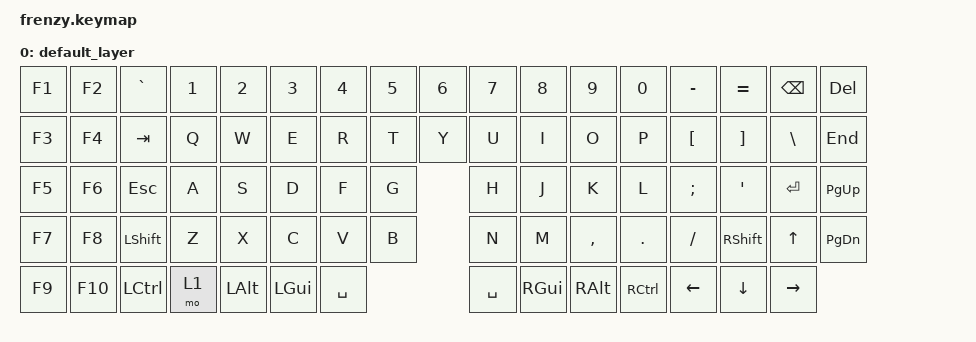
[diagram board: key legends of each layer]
/*
 * Copyright (c) 2020 The ZMK Contributors
 *
 * SPDX-License-Identifier: MIT
 */

#include <behaviors.dtsi>
#include <dt-bindings/zmk/bt.h>
#include <dt-bindings/zmk/keys.h>

/ {
    keymap {
        compatible = "zmk,keymap";

// ---------------------------------------------------------------------------------------------------------------------
// | F1  | F2  |  `    |  1   |  2  |  3   |  4  |  5  |  6  |      |  7  |  8  |  9  |  0  |  -  |  =  |  BKSPC | DEL  |
// | F3  | F4  |  TAB   |  Q   |  W  |  E   |  R  |  T  |        |  Y  |  U  |  I  |  O  |  P  |  [  |  ]  |  \  | END  |
// | F5  | F6  |  ESC    |  A   |  S  |  D   |  F  |  G  |        |  H  |  J  |  K  |  L  |  ;  |  '  |   ENTER  | PGUP |
// | F7  | F8  |  SHIFT   |  Z   |  X  |  C  |  V   |  B  |        |  N  |  M  |  ,  |  .  |  /  |  RSHFT  |  UP | PGDN |
// | F9  | F10 |  LCTRL   | FN | LALT | LGUI  |   SPACE    |      |    SPACE   | RGUI | RALT | RCTRL | LFT | DWN | RGHT |
// ---------------------------------------------------------------------------------------------------------------------

        default_layer {
            bindings = <
    &kp F1 &kp F2  &kp GRAVE &kp N1   &kp N2   &kp N3    &kp N4 &kp N5 &kp N6 /**/ &kp N7    &kp N8   &kp N9    &kp N0    &kp MINUS &kp EQUAL &kp BSPC &kp DEL
    &kp F3 &kp F4  &kp TAB   &kp Q    &kp W    &kp E     &kp R  &kp T         /**/ &kp Y     &kp U    &kp I     &kp O     &kp P     &kp LBKT  &kp RBKT &kp BSLH &kp END
    &kp F5 &kp F6  &kp ESC   &kp A    &kp S    &kp D     &kp F  &kp G         /**/ &kp H     &kp J    &kp K     &kp L     &kp SEMI  &kp SQT   &kp RET  &kp PG_UP
    &kp F7 &kp F8  &kp LSHFT &kp Z    &kp X    &kp C     &kp V  &kp B         /**/ &kp N     &kp M    &kp COMMA &kp DOT   &kp FSLH  &kp RSHFT &kp UP   &kp PG_DN
    &kp F9 &kp F10 &kp LCTRL &mo 1    &kp LALT &kp LGUI  &kp SPACE            /**/ &kp SPACE &kp RGUI &kp RALT  &kp RCTRL &kp LEFT  &kp DOWN  &kp RIGHT
            >;
        };
    };
};
